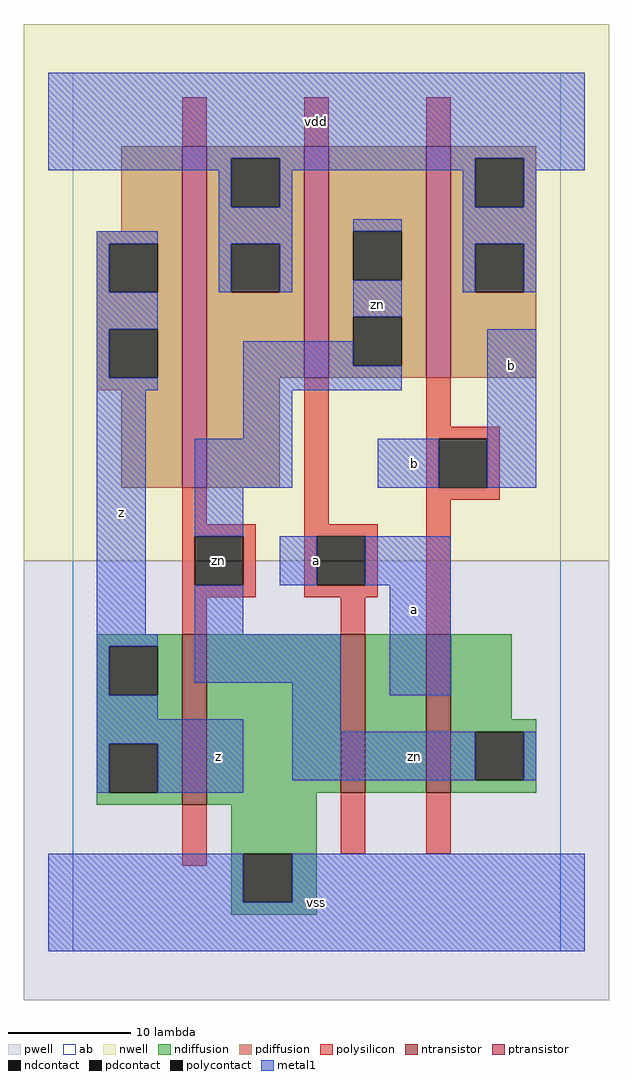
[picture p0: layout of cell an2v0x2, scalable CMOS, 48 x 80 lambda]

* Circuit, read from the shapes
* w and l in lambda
.subckt an2v0x2 a b vdd vss z zn
M1 vss zn z VSUBS nfet w=14 l=2
M2 n1 a vss VSUBS nfet w=13 l=2
M3 zn b n1 VSUBS nfet w=13 l=2
M4 vdd zn z n2 pfet w=28 l=2
M5 zn a vdd n2 pfet w=19 l=2
M6 vdd b zn n2 pfet w=19 l=2
.ends

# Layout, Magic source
magic
tech scmos
<< ab >>
rect 0 0 40 72
<< pwell >>
rect -4 -4 44 32
<< nwell >>
rect -4 32 44 76
<< polysilicon >>
rect 9 66 11 70
rect 19 66 21 70
rect 29 66 31 70
rect 9 35 11 38
rect 19 35 21 47
rect 29 43 31 47
rect 29 42 35 43
rect 29 38 30 42
rect 34 38 35 42
rect 29 37 35 38
rect 9 34 15 35
rect 9 30 10 34
rect 14 30 15 34
rect 9 29 15 30
rect 19 34 25 35
rect 19 30 20 34
rect 24 30 25 34
rect 19 29 25 30
rect 9 26 11 29
rect 22 26 24 29
rect 29 26 31 37
rect 9 7 11 12
rect 22 8 24 13
rect 29 8 31 13
<< ndiffusion >>
rect 2 25 9 26
rect 2 21 3 25
rect 7 21 9 25
rect 2 17 9 21
rect 2 13 3 17
rect 7 13 9 17
rect 2 12 9 13
rect 11 13 22 26
rect 24 13 29 26
rect 31 19 36 26
rect 31 18 38 19
rect 31 14 33 18
rect 37 14 38 18
rect 31 13 38 14
rect 11 12 20 13
rect 13 8 20 12
rect 13 4 14 8
rect 18 4 20 8
rect 13 3 20 4
<< pdiffusion >>
rect 4 59 9 66
rect 2 58 9 59
rect 2 54 3 58
rect 7 54 9 58
rect 2 51 9 54
rect 2 47 3 51
rect 7 47 9 51
rect 2 46 9 47
rect 4 38 9 46
rect 11 65 19 66
rect 11 61 13 65
rect 17 61 19 65
rect 11 58 19 61
rect 11 54 13 58
rect 17 54 19 58
rect 11 47 19 54
rect 21 59 29 66
rect 21 55 23 59
rect 27 55 29 59
rect 21 52 29 55
rect 21 48 23 52
rect 27 48 29 52
rect 21 47 29 48
rect 31 65 38 66
rect 31 61 33 65
rect 37 61 38 65
rect 31 58 38 61
rect 31 54 33 58
rect 37 54 38 58
rect 31 47 38 54
rect 11 38 17 47
<< metal1 >>
rect -2 65 42 72
rect -2 64 13 65
rect 12 61 13 64
rect 17 64 33 65
rect 17 61 18 64
rect 2 58 7 59
rect 2 54 3 58
rect 12 58 18 61
rect 32 61 33 64
rect 37 64 42 65
rect 37 61 38 64
rect 12 54 13 58
rect 17 54 18 58
rect 23 59 27 60
rect 2 51 7 54
rect 2 47 3 51
rect 23 52 27 55
rect 32 58 38 61
rect 32 54 33 58
rect 37 54 38 58
rect 2 46 7 47
rect 14 48 23 50
rect 14 46 27 48
rect 2 26 6 46
rect 14 42 18 46
rect 10 38 18 42
rect 25 38 30 42
rect 34 38 38 51
rect 10 34 14 38
rect 17 30 20 34
rect 24 30 31 34
rect 10 26 14 30
rect 2 25 7 26
rect 2 21 3 25
rect 10 22 22 26
rect 2 19 7 21
rect 2 17 14 19
rect 2 13 3 17
rect 7 13 14 17
rect 18 18 22 22
rect 26 21 31 30
rect 18 14 33 18
rect 37 14 38 18
rect -2 4 14 8
rect 18 4 42 8
rect -2 0 42 4
<< ntransistor >>
rect 9 12 11 26
rect 22 13 24 26
rect 29 13 31 26
<< ptransistor >>
rect 9 38 11 66
rect 19 47 21 66
rect 29 47 31 66
<< polycontact >>
rect 30 38 34 42
rect 10 30 14 34
rect 20 30 24 34
<< ndcontact >>
rect 3 21 7 25
rect 3 13 7 17
rect 33 14 37 18
rect 14 4 18 8
<< pdcontact >>
rect 3 54 7 58
rect 3 47 7 51
rect 13 61 17 65
rect 13 54 17 58
rect 23 55 27 59
rect 23 48 27 52
rect 33 61 37 65
rect 33 54 37 58
<< labels >>
rlabel polycontact 12 32 12 32 6 zn
rlabel metal1 4 36 4 36 6 z
rlabel metal1 12 16 12 16 6 z
rlabel polycontact 12 32 12 32 6 zn
rlabel metal1 20 4 20 4 6 vss
rlabel metal1 20 32 20 32 6 a
rlabel metal1 28 28 28 28 6 a
rlabel metal1 28 40 28 40 6 b
rlabel metal1 25 53 25 53 6 zn
rlabel metal1 20 68 20 68 6 vdd
rlabel metal1 28 16 28 16 6 zn
rlabel metal1 36 48 36 48 6 b
<< end >>
